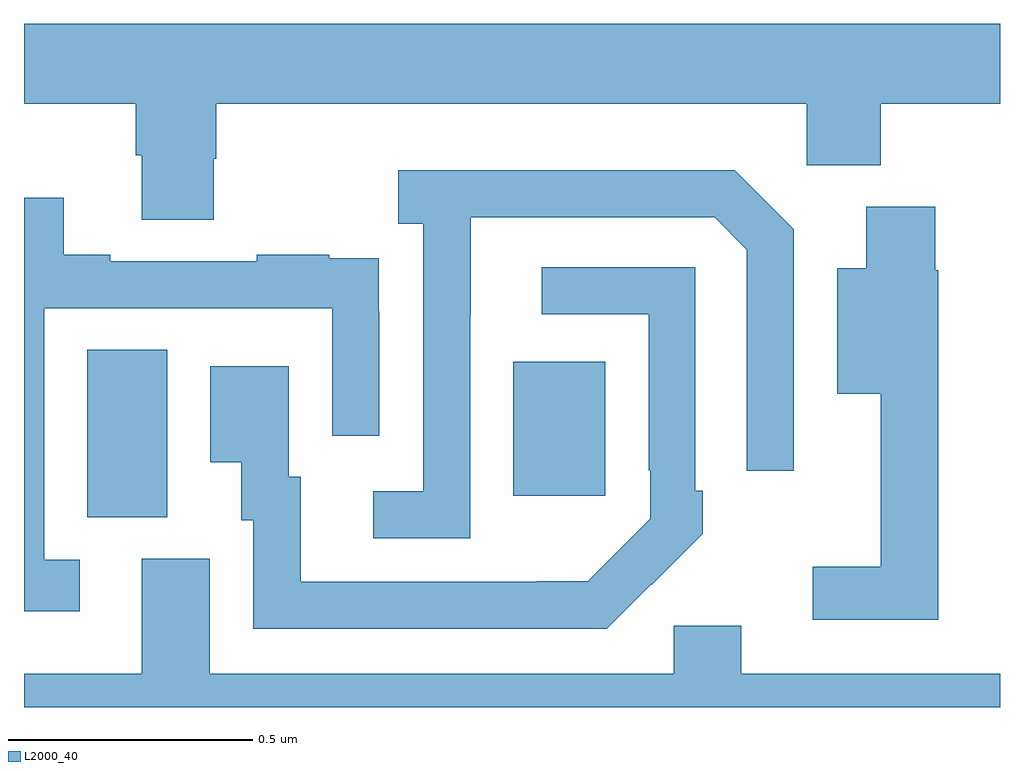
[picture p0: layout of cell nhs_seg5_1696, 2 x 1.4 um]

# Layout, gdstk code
import gdstk
lib = gdstk.Library(unit=1e-6, precision=1e-09)
def R(c, l, rs):  # rectangles x0, y0, x1, y1
    for r in rs: c.add(gdstk.rectangle(r[:2], r[2:], *l))
def P(c, l, *ps):  # polygons
    for p in ps: c.add(gdstk.Polygon(p, *l))
L2000_40 = (2000, 40)

nhs_seg5_1696 = lib.new_cell('nhs_seg5_1696')
R(nhs_seg5_1696, L2000_40, [(133.13,913.189,133.294,913.532), (134.003,913.233,134.191,913.507)])
P(nhs_seg5_1696, L2000_40, [(133.389,913.923),(133.394,913.923),(133.394,914.036),(134.604,914.036),(134.604,913.91),(134.756,913.91),(134.756,914.036),(135,914.036),(135,914.2),(133,914.2),(133,914.036),(133.229,914.036),(133.229,913.93),(133.241,913.93),(133.241,913.798),(133.389,913.798)],
  [(133.914,913.603),(133.915,913.603),(133.915,913.803),(134.415,913.803),(134.481,913.737),(134.481,913.284),(134.577,913.284),(134.577,913.779),(134.456,913.9),(133.767,913.9),(133.767,913.79),(133.818,913.79),(133.818,913.242),(133.716,913.242),(133.716,913.146),(133.914,913.146)],
  [(133.114,913.101),(133.041,913.101),(133.041,913.617),(133.632,913.617),(133.632,913.356),(133.728,913.356),(133.728,913.61),(133.727,913.61),(133.727,913.719),(133.625,913.719),(133.625,913.726),(133.477,913.726),(133.477,913.713),(133.177,913.713),(133.177,913.726),(133.081,913.726),(133.081,913.843),(133,913.843),(133,912.996),(133.114,912.996)],
  [(134.873,913.695),(134.867,913.695),(134.867,913.825),(134.726,913.825),(134.726,913.699),(134.666,913.699),(134.666,913.442),(134.756,913.442),(134.756,913.087),(134.616,913.087),(134.616,912.978),(134.873,912.978)],
  [(134.285,913.051),(134.286,913.05),(134.391,913.155),(134.391,913.243),(134.376,913.243),(134.376,913.701),(134.061,913.701),(134.061,913.605),(134.28,913.605),(134.28,913.285),(134.283,913.285),(134.283,913.185),(134.155,913.057),(134.051,913.057),(134.051,913.056),(133.567,913.056),(133.567,913.272),(133.543,913.272),(133.543,913.498),(133.382,913.498),(133.382,913.301),(133.445,913.301),(133.445,913.182),(133.47,913.182),(133.47,912.96),(134.194,912.96)],
  [(135,912.868),(134.47,912.868),(134.47,912.966),(134.331,912.966),(134.331,912.868),(133.381,912.868),(133.381,913.104),(133.241,913.104),(133.241,912.868),(133,912.868),(133,912.799),(135,912.799)])

lib.write_gds('nhs_seg5_1696.gds')
